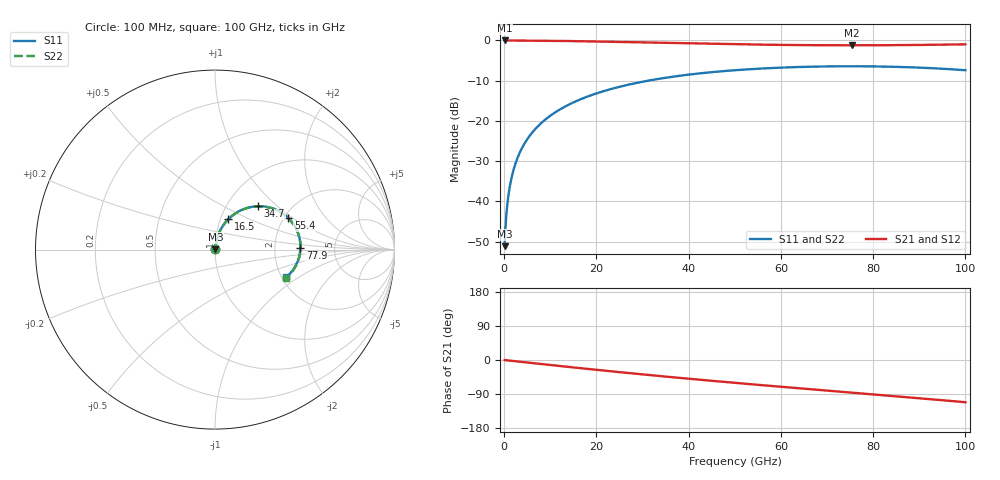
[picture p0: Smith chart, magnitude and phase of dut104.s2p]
! Touchstone file exported from HFSS 2026.1.0
!  File:  C:/ffzhzh/LocalFiles/Ansys_Project_Files/temp_train_RDL_104_1783499180_31944.aedt
!  Generated:  04:27:28 PM Jul  8, 2026
!  Design:  RDL
!  Project:  temp_train_RDL_104_1783499180_31944
! Variables:
!  h_bsmrdl = 2um
!  h_ox = 20um
!  h_rdl = 5um
!  h_sub = 80um
!  h_tmrdl = 2.37um
!  h_tsv = 80um
!  h_via = 3um
!  l_bsmrdl = 300um
!  l_sub = 766.4um
!  l_tmrdl = 366.4um
!  m_sub = 200um
!  pitch = 46.47um
!  r_tsv = 6um
!  s_tmrdl = 10um
!  w_bsmrdl = 18um
!  w_sub = 500um
!  w_tmrdl = 26.41um
!  x_tsv_center1 = 379.605um
!  x_tsv_center2 = 697.605um
!  x_tsv_center3 = 1090.415um
!  x_tsv_center4 = 1408.415um
!  x_tsv_center5 = 1801.225um
!  x_tsv_center6 = 2119.225um
# GHz S MA R 50.000000
! Terminal data exported
! Port[1] = TM_RDL1_1_T1
! Port[2] = TM_RDL1_1_T2
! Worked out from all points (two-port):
!   1000 points, 100 MHz to 100 GHz, reference 50 ohm
!   highest |S21| = -0.02 dB at 100 MHz (marker M1); lowest = -1.2 dB at 75.4 GHz (marker M2)
!   |S21| within 3 dB of the highest: start of sweep to end of sweep
!   lowest |S11| = -51.1 dB at 100 MHz (marker M3), VSWR 1.01, Z = 50.2 + j0.137 ohm
!   |S11| at or under -10 dB: start of sweep to 31.3 GHz
!   |S22| runs from -51.1 to -6.4 dB; largest |S21 - S12| = 1.6e-14
!   S11 on the Smith chart (normalised r, x): 100 MHz: 1.00, +0.00; 16.5 GHz: 1.09, +0.38; 34.7 GHz: 1.39, +0.76; 55.4 GHz: 2.11, +0.93; 77.9 GHz: 2.82, +0.06; 100 GHz: 2.11, -0.80
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0.1  0.002771 29.6  0.9976 -0.1  0.9976 -0.1  0.002771 29.6
! Gamma 0 0 0 0
! Port Impedance 50 0 50 0
0.4  0.005912 61.8  0.9972 -0.6  0.9972 -0.6  0.005912 61.7
0.9  0.01155 73.0  0.9968 -1.2  0.9968 -1.2  0.01155 73.0
1.2  0.01496 75.8  0.9966 -1.6  0.9966 -1.6  0.01496 75.8
1.6  0.01956 78.0  0.9964 -2.2  0.9964 -2.2  0.01956 77.9
2.7  0.03232 80.1  0.9959 -3.6  0.9959 -3.6  0.03232 80.1
4.2  0.04976 80.0  0.9949 -5.6  0.9949 -5.6  0.04976 80.0
6.3  0.07398 78.4  0.993 -8.4  0.993 -8.4  0.07398 78.3
9  0.1046 75.4  0.9896 -11.9  0.9896 -11.9  0.1046 75.4
12.4  0.1418 71.4  0.984 -16.3  0.984 -16.3  0.1418 71.3
16.5  0.1846 66.4  0.9759 -21.5  0.9759 -21.5  0.1846 66.3
16.8  0.1876 66.0  0.9753 -21.9  0.9753 -21.9  0.1877 65.9
24.2  0.2578 57.2  0.9578 -31.1  0.9578 -31.1  0.2578 57.0
33.4  0.3317 46.6  0.934 -41.9  0.934 -41.9  0.3318 46.4
34.7  0.3409 45.2  0.9306 -43.4  0.9306 -43.4  0.341 44.9
50.1  0.426 28.6  0.8946 -60.4  0.8946 -60.4  0.4261 28.3
55.4  0.4455 23.2  0.8852 -65.9  0.8852 -65.9  0.4456 22.8
66.7  0.4711 11.9  0.8718 -77.4  0.8718 -77.4  0.4713 11.4
75.4  0.4767 3.4  0.8687 -86.2  0.8687 -86.2  0.4769 2.8
77.9  0.476 0.9  0.8689 -88.7  0.8689 -88.7  0.4762 0.3
83.4  0.4711 -4.5  0.8714 -94.2  0.8714 -94.2  0.4713 -5.1
100  0.4256 -21.3  0.8928 -111.4  0.8928 -111.4  0.4258 -22.0
